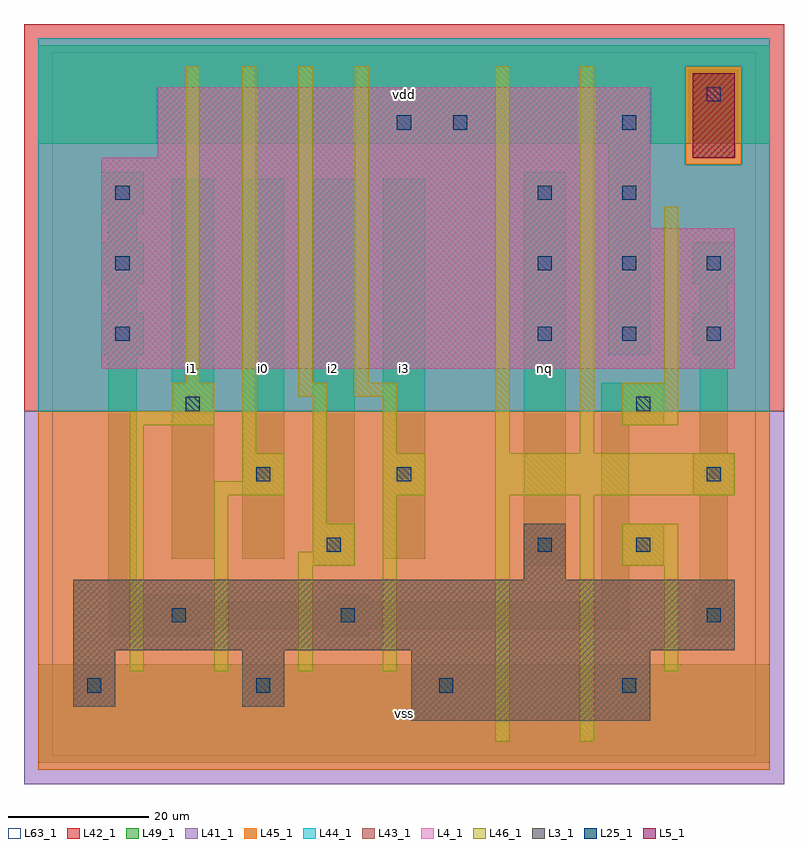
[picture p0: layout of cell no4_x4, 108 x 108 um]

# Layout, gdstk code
import gdstk
lib = gdstk.Library(unit=1e-6, precision=1e-09)
def R(c, l, rs):  # rectangles x0, y0, x1, y1
    for r in rs: c.add(gdstk.rectangle(r[:2], r[2:], *l))
def A(c, l, x, y, w, h, nx, ny, dx, dy):  # array of equal rectangles
    R(c, l, [(x+i*dx, y+j*dy, x+i*dx+w, y+j*dy+h) for i in range(nx) for j in range(ny)])
L3_1 = (3, 1)
L4_1 = (4, 1)
L5_1 = (5, 1)
L25_1 = (25, 1)
L41_1 = (41, 1)
L42_1 = (42, 1)
L43_1 = (43, 1)
L44_1 = (44, 1)
L45_1 = (45, 1)
L46_1 = (46, 1)
L49_1 = (49, 1)
L63_1 = (63, 1)

no4_x4 = lib.new_cell('no4_x4')
R(no4_x4, L3_1, [(51,5,85,15), (3,7,9,15), (27,7,33,15), (3,15,97,25), (67,25,73,33)])
R(no4_x4, L4_1, [(7,55,97,75), (7,75,85,85), (15,85,85,95)])
R(no4_x4, L5_1, [(91,85,97,97)])
A(no4_x4, L25_1, 29, 9, 2, 2, 3, 1, 26, 0)
A(no4_x4, L25_1, 9, 59, 2, 2, 1, 3, 0, 10)
A(no4_x4, L25_1, 69, 59, 2, 2, 3, 2, 12, 10)
R(no4_x4, L25_1, [(5,9,7,11), (17,19,19,21), (41,19,43,21), (93,19,95,21), (39,29,41,31), (69,29,71,31), (83,29,85,31), (29,39,31,41), (49,39,51,41), (93,39,95,41), (19,49,21,51), (83,49,85,51), (69,79,71,81), (81,79,83,81), (49,89,51,91), (57,89,59,91), (81,89,83,91), (93,93,95,95)])
R(no4_x4, L41_1, [(-4,-4,104,49)])
R(no4_x4, L42_1, [(-4,49,104,104)])
R(no4_x4, L43_1, [(51,5,85,15), (3,7,9,15), (27,7,33,15), (3,15,97,25), (67,25,73,33), (7,55,97,75), (7,75,85,85), (15,85,85,95), (91,85,97,97)])
R(no4_x4, L44_1, [(-2,49,102,84), (-2,84,90,98), (98,84,102,98), (-2,98,102,102)])
R(no4_x4, L45_1, [(-2,-2,102,49), (90,84,98,98)])
R(no4_x4, L46_1, [(63,2,65,37), (75,2,77,37), (11,12,13,47), (23,12,25,37), (35,12,37,27), (47,12,49,37), (87,12,89,27), (35,27,43,29), (81,27,89,33), (37,29,43,33), (37,33,39,51), (23,37,33,39), (47,37,53,43), (63,37,97,43), (27,39,33,43), (27,43,29,98), (47,43,49,51), (63,43,65,98), (75,43,77,98), (11,47,23,49), (81,47,89,53), (17,49,23,53), (35,51,39,53), (43,51,49,53), (19,53,21,98), (35,53,37,98), (43,53,45,98), (87,53,89,78)])
A(no4_x4, L49_1, 91, 17, 6, 6, 1, 3, 0, 20)
A(no4_x4, L49_1, 7, 57, 6, 6, 1, 3, 0, 10)
R(no4_x4, L49_1, [(-2,-1,102,13), (8,17,21,18), (39,17,45,18), (8,18,82,22), (8,22,21,23), (39,22,45,23), (78,22,82,27), (8,23,12,57), (92,23,96,37), (37,27,43,82), (67,27,73,83), (78,27,87,33), (17,28,23,82), (27,28,33,82), (47,28,53,82), (78,33,82,47), (92,43,96,57), (78,47,87,53), (79,57,85,87), (8,63,12,67), (92,63,96,67), (91,67,97,73), (8,73,12,77), (-2,87,102,101)])
R(no4_x4, L63_1, [(0,0,100,100)])
no4_x4.add(gdstk.Label('i1', (20,55), layer=49, texttype=1))
no4_x4.add(gdstk.Label('i1', (20,55), layer=49, texttype=1))
no4_x4.add(gdstk.Label('i2', (40,55), layer=49, texttype=1))
no4_x4.add(gdstk.Label('i0', (30,55), layer=49, texttype=1))
no4_x4.add(gdstk.Label('i2', (40,55), layer=49, texttype=1))
no4_x4.add(gdstk.Label('i0', (30,55), layer=49, texttype=1))
no4_x4.add(gdstk.Label('vss', (50,6), layer=49, texttype=1))
no4_x4.add(gdstk.Label('vss', (50,6), layer=49, texttype=1))
no4_x4.add(gdstk.Label('i3', (50,55), layer=49, texttype=1))
no4_x4.add(gdstk.Label('i3', (50,55), layer=49, texttype=1))
no4_x4.add(gdstk.Label('nq', (70,55), layer=49, texttype=1))
no4_x4.add(gdstk.Label('nq', (70,55), layer=49, texttype=1))
no4_x4.add(gdstk.Label('vdd', (50,94), layer=49, texttype=1))
no4_x4.add(gdstk.Label('vdd', (50,94), layer=49, texttype=1))

lib.write_gds('no4_x4.gds')
